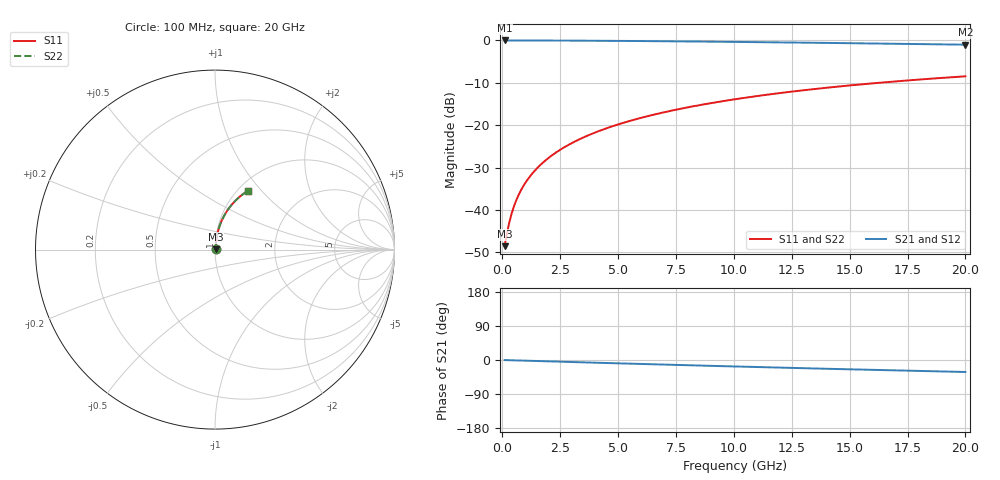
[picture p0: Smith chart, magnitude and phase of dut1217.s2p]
! Touchstone file exported from HFSS 2024.1.0
!  File:  C:/UserFiles/LocalFiles/RDL_TSV_Batchsim/temp_RDL_top_1217_1780240130.aedt
!  Generated:  11:11:19 PM May 31, 2026
!  Design:  RDL_top
!  Project:  temp_RDL_top_1217_1780240130
!  Setup:  Setup1
!  Solution:  Sweep
! Variables:
!  dtsv = 10.80580581um
!  hbump = 3um
!  htsv = 99.11um
!  ldown = 100um
!  lrdl = 386.02um
!  p = 40
!  p1 = 47.22um
!  rhole = 1um
!  t = 450um
!  tdown = 3.915915916um
!  trdl = 3.78um
!  wdown = 15.38538539um
!  wrdl = 12.11um
# GHz S MA R 50.000000
! Terminal data exported
! Port[1] = Box2_T1
! Port[2] = Box2_T2
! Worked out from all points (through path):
!   200 points, 100 MHz to 20 GHz, reference 50 ohm
!   highest |S21| = -0.03 dB at 100 MHz (marker M1); lowest = -1.0 dB at 20 GHz (marker M2)
!   group delay of S21, straight-line fit = 4.39 ps
!   lowest |S11| = -48.5 dB at 100 MHz (marker M3), VSWR 1.01, Z = 50.3 + j0.213 ohm
!   |S11| at or under -10 dB: start of sweep to 16.29 GHz
!   |S22| runs from -48.5 to -8.5 dB; largest |S21 - S12| = 4.3e-15
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0.1  0.003743 34.5  0.9969 -0.2  0.9969 -0.2  0.003743 34.5
! Gamma 0 0 0 0
! Port Impedance 50 0 50 0
0.2  0.005264 53.4  0.9969 -0.4  0.9969 -0.4  0.005264 53.4
0.3  0.007085 63.0  0.9968 -0.5  0.9968 -0.5  0.007085 63.0
0.4  0.009009 68.5  0.9967 -0.7  0.9967 -0.7  0.009009 68.5
0.5  0.01097 71.9  0.9966 -0.9  0.9966 -0.9  0.01097 71.9
0.6  0.01295 74.3  0.9965 -1.1  0.9965 -1.1  0.01295 74.3
0.8  0.01694 77.3  0.9963 -1.4  0.9963 -1.4  0.01694 77.3
1.1  0.02295 79.7  0.996 -2.0  0.996 -2.0  0.02295 79.7
1.5  0.03102 81.4  0.9954 -2.7  0.9954 -2.7  0.03102 81.4
1.8  0.03709 82.0  0.9949 -3.2  0.9949 -3.2  0.03709 82.0
2.1  0.04316 82.3  0.9944 -3.8  0.9944 -3.8  0.04316 82.3
2.7  0.05534 82.5  0.9931 -4.8  0.9931 -4.8  0.05534 82.5
3.5  0.07157 82.1  0.9908 -6.2  0.9908 -6.2  0.07157 82.1
4.2  0.08576 81.6  0.9885 -7.4  0.9885 -7.4  0.08577 81.6
5  0.1019 80.8  0.9854 -8.8  0.9854 -8.8  0.102 80.8
5.9  0.1201 79.8  0.9815 -10.3  0.9815 -10.3  0.1201 79.8
6.8  0.1381 78.7  0.9772 -11.8  0.9772 -11.8  0.1381 78.7
8.3  0.1679 76.8  0.9692 -14.3  0.9692 -14.3  0.1679 76.8
10.1  0.2031 74.3  0.9586 -17.2  0.9586 -17.2  0.2031 74.3
13.4  0.2651 69.7  0.9371 -22.2  0.9371 -22.2  0.2652 69.7
16.7  0.3232 65.1  0.9135 -27.0  0.9135 -27.0  0.3232 65.1
20  0.3766 60.6  0.8888 -31.6  0.8888 -31.6  0.3766 60.6
